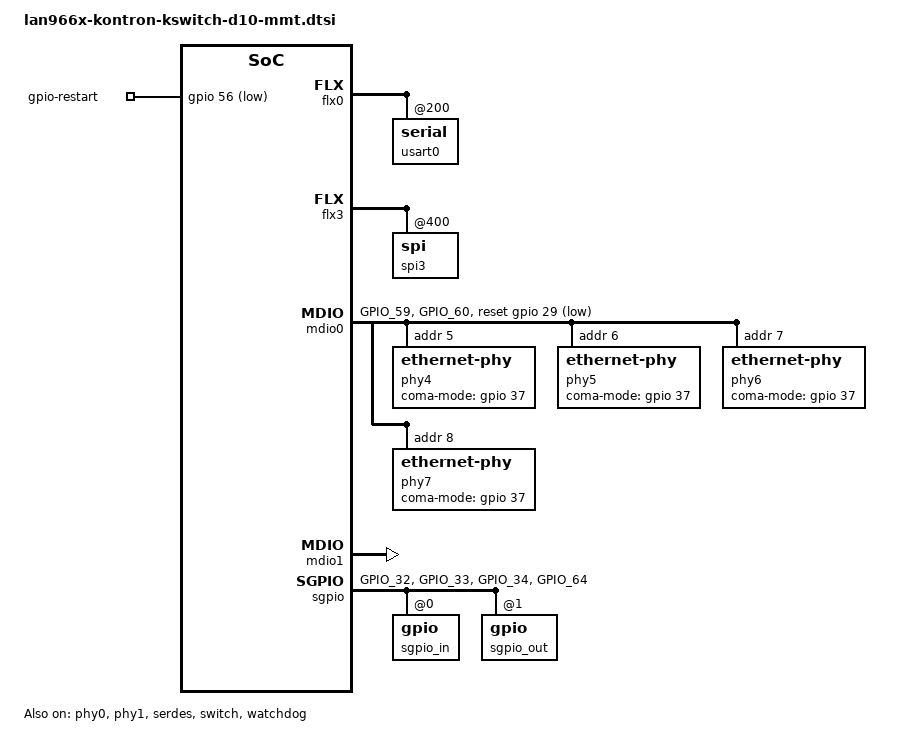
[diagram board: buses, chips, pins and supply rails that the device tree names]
// SPDX-License-Identifier: (GPL-2.0+ OR MIT)
/*
 * Common part of the device tree for the Kontron KSwitch D10 MMT
 */

/dts-v1/;
#include "lan966x.dtsi"
#include "dt-bindings/phy/phy-lan966x-serdes.h"

/ {
	aliases {
		serial0 = &usart0;
	};

	chosen {
		stdout-path = "serial0:115200n8";
	};

	gpio-restart {
		compatible = "gpio-restart";
		gpios = <&gpio 56 GPIO_ACTIVE_LOW>;
		priority = <200>;
	};
};

&flx0 {
	atmel,flexcom-mode = <ATMEL_FLEXCOM_MODE_USART>;
	status = "okay";

	usart0: serial@200 {
		pinctrl-0 = <&usart0_pins>;
		pinctrl-names = "default";
		status = "okay";
	};
};

&flx3 {
	atmel,flexcom-mode = <ATMEL_FLEXCOM_MODE_SPI>;
	status = "okay";

	spi3: spi@400 {
		pinctrl-0 = <&fc3_b_pins>;
		pinctrl-names = "default";
		status = "okay";
		cs-gpios = <&gpio 46 GPIO_ACTIVE_LOW>;
	};
};

&gpio {
	fc3_b_pins: fc3-b-pins {
		/* SCK, MISO, MOSI */
		pins = "GPIO_51", "GPIO_52", "GPIO_53";
		function = "fc3_b";
	};

	miim_c_pins: miim-c-pins {
		/* MDC, MDIO */
		pins = "GPIO_59", "GPIO_60";
		function = "miim_c";
	};

	sgpio_a_pins: sgpio-a-pins {
		/* SCK, D0, D1 */
		pins = "GPIO_32", "GPIO_33", "GPIO_34";
		function = "sgpio_a";
	};

	sgpio_b_pins: sgpio-b-pins {
		/* LD */
		pins = "GPIO_64";
		function = "sgpio_b";
	};

	usart0_pins: usart0-pins {
		/* RXD, TXD */
		pins = "GPIO_25", "GPIO_26";
		function = "fc0_b";
	};
};

&mdio0 {
	pinctrl-0 = <&miim_c_pins>;
	pinctrl-names = "default";
	reset-gpios = <&gpio 29 GPIO_ACTIVE_LOW>;
	clock-frequency = <2500000>;
	status = "okay";

	phy4: ethernet-phy@5 {
		reg = <5>;
		coma-mode-gpios = <&gpio 37 GPIO_ACTIVE_HIGH>;
	};

	phy5: ethernet-phy@6 {
		reg = <6>;
		coma-mode-gpios = <&gpio 37 GPIO_ACTIVE_HIGH>;
	};

	phy6: ethernet-phy@7 {
		reg = <7>;
		coma-mode-gpios = <&gpio 37 GPIO_ACTIVE_HIGH>;
	};

	phy7: ethernet-phy@8 {
		reg = <8>;
		coma-mode-gpios = <&gpio 37 GPIO_ACTIVE_HIGH>;
	};
};

&mdio1 {
	status = "okay";
};

&phy0 {
	status = "okay";
};

&phy1 {
	status = "okay";
};

&port0 {
	phys = <&serdes 0 CU(0)>;
	phy-handle = <&phy0>;
	phy-mode = "gmii";
	status = "okay";
};

&port1 {
	phys = <&serdes 1 CU(1)>;
	phy-handle = <&phy1>;
	phy-mode = "gmii";
	status = "okay";
};

&port4 {
	phys = <&serdes 4 SERDES6G(2)>;
	phy-handle = <&phy4>;
	phy-mode = "qsgmii";
	status = "okay";
};

&port5 {
	phys = <&serdes 5 SERDES6G(2)>;
	phy-handle = <&phy5>;
	phy-mode = "qsgmii";
	status = "okay";
};

&port6 {
	phys = <&serdes 6 SERDES6G(2)>;
	phy-handle = <&phy6>;
	phy-mode = "qsgmii";
	status = "okay";
};

&port7 {
	phys = <&serdes 7 SERDES6G(2)>;
	phy-handle = <&phy7>;
	phy-mode = "qsgmii";
	status = "okay";
};

&serdes {
	status = "okay";
};

&sgpio {
	pinctrl-0 = <&sgpio_a_pins>, <&sgpio_b_pins>;
	pinctrl-names = "default";
	bus-frequency = <8000000>;
	/* arbitrary range because all GPIOs are in software mode */
	microchip,sgpio-port-ranges = <0 11>;
	status = "okay";

	sgpio_in: gpio@0 {
		ngpios = <128>;
	};

	sgpio_out: gpio@1 {
		ngpios = <128>;
	};
};

&switch {
	status = "okay";
};

&watchdog {
	status = "okay";
};
